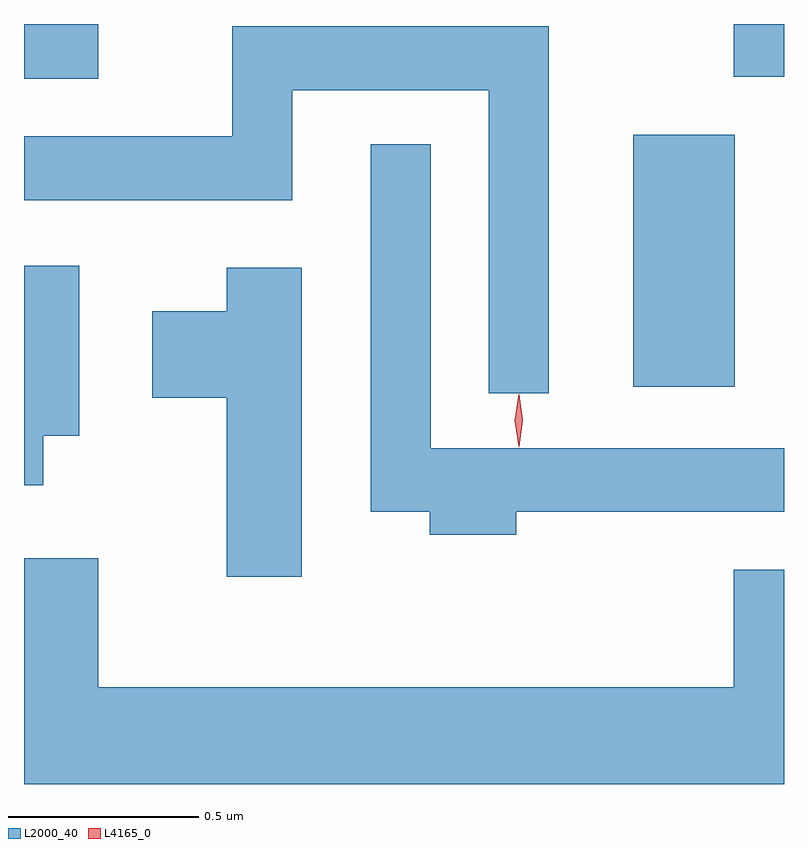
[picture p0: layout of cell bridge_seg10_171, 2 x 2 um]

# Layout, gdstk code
import gdstk
lib = gdstk.Library(unit=1e-6, precision=1e-09)
def R(c, l, rs):  # rectangles x0, y0, x1, y1
    for r in rs: c.add(gdstk.rectangle(r[:2], r[2:], *l))
def P(c, l, *ps):  # polygons
    for p in ps: c.add(gdstk.Polygon(p, *l))
L2000_40 = (2000, 40)
L4165_0 = (4165, 0)

bridge_seg10_171 = lib.new_cell('bridge_seg10_171')
R(bridge_seg10_171, L2000_40, [(1688.966,2099.436,1689.234,2100.099), (1687.363,2100.246,1687.559,2100.39), (1689.231,2100.251,1689.363,2100.39)])
P(bridge_seg10_171, L2000_40, [(1688.744,2100.384),(1687.911,2100.384),(1687.911,2100.094),(1687.363,2100.094),(1687.363,2099.926),(1688.069,2099.926),(1688.069,2100.216),(1688.586,2100.216),(1688.586,2099.418),(1688.744,2099.418)],
  [(1688.659,2099.106),(1689.363,2099.106),(1689.363,2099.274),(1688.434,2099.274),(1688.434,2100.073),(1688.276,2100.073),(1688.276,2099.106),(1688.431,2099.106),(1688.431,2099.046),(1688.659,2099.046)],
  [(1687.414,2099.306),(1687.509,2099.306),(1687.509,2099.754),(1687.363,2099.754),(1687.363,2099.176),(1687.414,2099.176)],
  [(1688.094,2099.749),(1687.896,2099.749),(1687.896,2099.634),(1687.701,2099.634),(1687.701,2099.406),(1687.896,2099.406),(1687.896,2098.936),(1688.094,2098.936)],
  [(1689.363,2098.954),(1689.231,2098.954),(1689.231,2098.644),(1687.559,2098.644),(1687.559,2098.984),(1687.363,2098.984),(1687.363,2098.39),(1689.363,2098.39)])
P(bridge_seg10_171, L4165_0, [(1688.665,2099.279),(1688.665,2099.28),(1688.655,2099.346),(1688.665,2099.412),(1688.665,2099.413),(1688.666,2099.412),(1688.675,2099.346),(1688.666,2099.28)],
  [(1688.665,2099.277),(1688.665,2099.278),(1688.655,2099.347),(1688.665,2099.416),(1688.665,2099.416),(1688.666,2099.416),(1688.675,2099.347),(1688.666,2099.278)])

lib.write_gds('bridge_seg10_171.gds')
